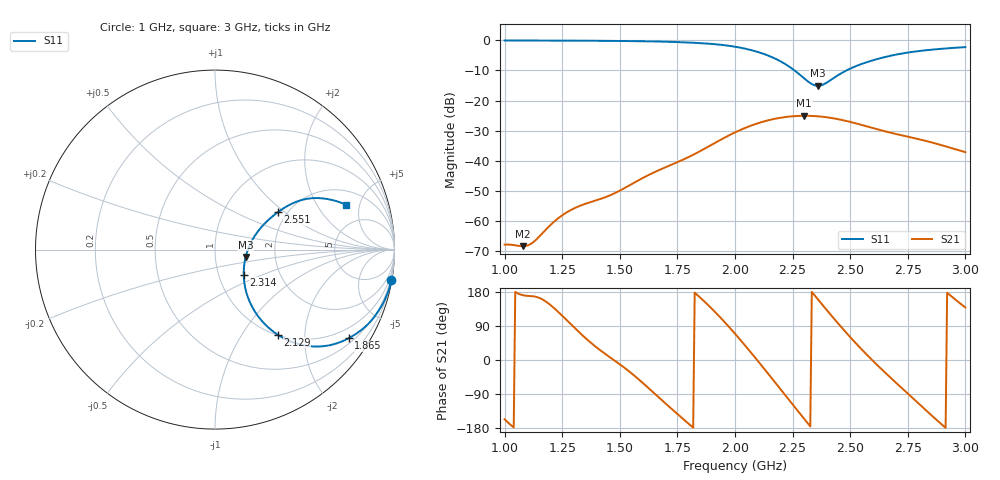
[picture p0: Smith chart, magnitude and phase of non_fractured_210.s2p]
! TOUCHSTONE file generated by CST MICROWAVE STUDIO
! Date and time: Sat Mar  8 13:55:27 2025
! Project name: non_fractured.cst
! Parameters = {B=2.5; D=160; F=20; Feed=2.85625; L=100; M=20; R=0.384908; S=1; Theta=90; length=57.125; wave=114.25}
! Header version: 2024
! Port assignment regex: !\s*Touchstone port\s*([0-9]+)\s*=\s*(CST MWS port|CST DES external port|CST DES block port)\s*(.+)\s* \(\"(.*)\"\)(\s*mode\s*([0-9]+))?.*
! Touchstone port assignment:
! Touchstone port 1 = CST MWS port 1 ("")
! Touchstone port 2 = CST MWS port 2 ("")
# GHz S DB R 50
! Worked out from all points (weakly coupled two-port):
!   304 points, 1 GHz to 3 GHz, reference 50 ohm
!   highest |S21| = -25.06 dB at 2.3 GHz (marker M1); lowest = -68.4 dB at 1.079 GHz (marker M2)
!   lowest |S11| = -15.1 dB at 2.36 GHz (marker M3), VSWR 1.43, Z = 70.3 - j6.04 ohm
!   |S11| at or under -10 dB: 2.258 GHz to 2.483 GHz (224.9 MHz wide, 9.49 % of centre)
!   S12 and S22 are empty: the file has one direction only
!   S11 on the Smith chart (normalised r, x): 1 GHz: 0, -12; 1.865 GHz: 0.65, -3.19; 2.129 GHz: 1.01, -1.46; 2.314 GHz: 1.32, -0.38; 2.551 GHz: 1.79, +0.90; 3 GHz: 3.04, +3.72
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1  -0.02 -9.8  -67.92 -156.2  -200.00 0.0  -200.00 0.0
1.07921  -0.03 -10.9  -68.43 170.9  -200.00 0.0  -200.00 0.0
1.12541  -0.04 -11.5  -67.04 168.0  -200.00 0.0  -200.00 0.0
1.20462  -0.05 -12.8  -61.00 142.3  -200.00 0.0  -200.00 0.0
1.25083  -0.06 -13.6  -58.12 116.4  -200.00 0.0  -200.00 0.0
1.33663  -0.09 -15.2  -54.72 65.8  -200.00 0.0  -200.00 0.0
1.46865  -0.16 -18.2  -51.15 2.4  -200.00 0.0  -200.00 0.0
1.66667  -0.38 -24.2  -43.25 -97.3  -200.00 0.0  -200.00 0.0
1.86469  -0.98 -33.6  -36.15 155.8  -200.00 0.0  -200.00 0.0
2.0033  -2.14 -43.7  -30.48 67.1  -200.00 0.0  -200.00 0.0
2.12871  -4.61 -53.6  -26.88 -24.7  -200.00 0.0  -200.00 0.0
2.21452  -7.70 -57.2  -25.52 -90.0  -200.00 0.0  -200.00 0.0
2.30033  -12.64 -46.2  -25.06 -155.4  -200.00 0.0  -200.00 0.0
2.31353  -13.47 -41.1  -25.07 -165.4  -200.00 0.0  -200.00 0.0
2.33993  -14.76 -26.8  -25.14 174.8  -200.00 0.0  -200.00 0.0
2.35974  -15.10 -13.7  -25.24 160.0  -200.00 0.0  -200.00 0.0
2.38614  -14.56 2.8  -25.45 140.6  -200.00 0.0  -200.00 0.0
2.44554  -11.66 23.2  -26.17 97.8  -200.00 0.0  -200.00 0.0
2.55116  -7.79 30.8  -28.13 27.1  -200.00 0.0  -200.00 0.0
2.66997  -5.20 30.0  -30.60 -43.7  -200.00 0.0  -200.00 0.0
2.82178  -3.33 24.5  -33.30 -128.8  -200.00 0.0  -200.00 0.0
3  -2.24 18.6  -37.16 138.5  -200.00 0.0  -200.00 0.0
